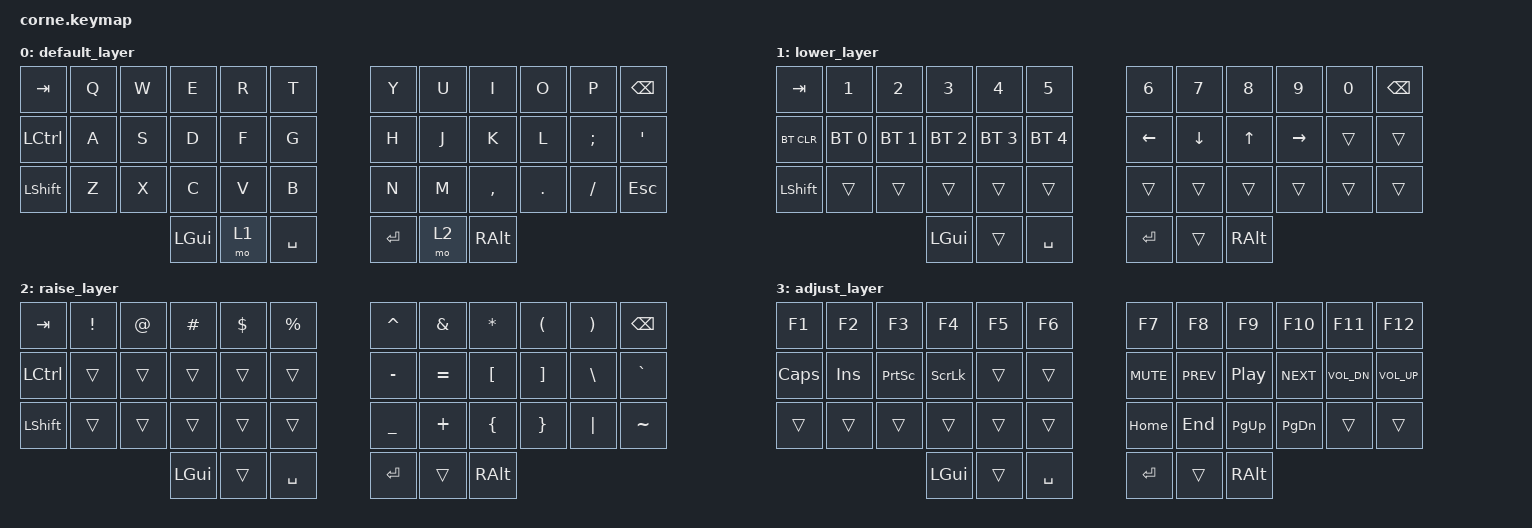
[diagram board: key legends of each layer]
/*
 * Copyright (c) 2020 The ZMK Contributors
 *
 * SPDX-License-Identifier: MIT
 */

#include <behaviors.dtsi>
#include <dt-bindings/zmk/keys.h>
#include <dt-bindings/zmk/bt.h>

/ {
    combos {
        compatible = "zmk,combos";
        combo_studio_unlock {
            timeout-ms = <50>;
            key-positions = <0 1>;
            bindings = <&studio_unlock>;
        };
    };
};

/ {
        keymap {
                compatible = "zmk,keymap";

                default_layer {
// -----------------------------------------------------------------------------------------
// |  TAB |  Q  |  W  |  E  |  R  |  T  |   |  Y  |  U   |  I  |  O  |  P  | BSPC |
// | CTRL |  A  |  S  |  D  |  F  |  G  |   |  H  |  J   |  K  |  L  |  ;  |  '   |
// | SHFT |  Z  |  X  |  C  |  V  |  B  |   |  N  |  M   |  ,  |  .  |  /  | ESC  |
//                    | GUI | LWR | SPC |   | ENT | RSE  | ALT |
                        bindings = <
   &kp TAB   &kp Q &kp W &kp E &kp R &kp T   &kp Y &kp U  &kp I     &kp O   &kp P    &kp BSPC
   &kp LCTRL &kp A &kp S &kp D &kp F &kp G   &kp H &kp J  &kp K     &kp L   &kp SEMI &kp SQT
   &kp LSHFT &kp Z &kp X &kp C &kp V &kp B   &kp N &kp M  &kp COMMA &kp DOT &kp FSLH &kp ESC
                  &kp LGUI &mo 1 &kp SPACE   &kp RET &mo 2 &kp RALT
                        >;
                };
                lower_layer {
// -----------------------------------------------------------------------------------------
// |  TAB |  1  |  2  |  3  |  4  |  5  |   |  6  |  7  |  8  |  9  |  0  | BSPC |
// | BTCLR| BT1 | BT2 | BT3 | BT4 | BT5 |   | LFT | DWN |  UP | RGT |     |      |
// | SHFT |     |     |     |     |     |   |     |     |     |     |     |      |
//                    | GUI |     | SPC |   | ENT |     | ALT |
                        bindings = <
   &kp TAB    &kp N1       &kp N2       &kp N3       &kp N4       &kp N5         &kp N6   &kp N7   &kp N8 &kp N9    &kp N0 &kp BSPC
   &bt BT_CLR &bt BT_SEL 0 &bt BT_SEL 1 &bt BT_SEL 2 &bt BT_SEL 3 &bt BT_SEL 4   &kp LEFT &kp DOWN &kp UP &kp RIGHT &trans &trans
   &kp LSHFT  &trans       &trans       &trans       &trans       &trans         &trans   &trans   &trans &trans    &trans &trans
                                    &kp LGUI     &trans       &kp SPACE      &kp RET  &trans   &kp RALT
                        >;
                };

                raise_layer {
// -----------------------------------------------------------------------------------------
// |  TAB |  !  |  @  |  #  |  $  |  %  |   |  ^  |  &  |  *  |  (  |  )  | BSPC |
// | CTRL |     |     |     |     |     |   |  -  |  =  |  [  |  ]  |  \  |  `   |
// | SHFT |     |     |     |     |     |   |  _  |  +  |  {  |  }  | "|" |  ~   |
//                    | GUI |     | SPC |   | ENT |     | ALT |
                        bindings = <
   &kp  TAB  &kp EXCL &kp AT &kp HASH &kp DLLR &kp PRCNT   &kp CARET &kp AMPS  &kp ASTRK &kp LPAR &kp RPAR &kp BSPC
   &kp LCTRL &trans   &trans &trans   &trans   &trans      &kp MINUS &kp EQUAL &kp LBKT  &kp RBKT &kp BSLH &kp GRAVE
   &kp LSHFT &trans   &trans &trans   &trans   &trans      &kp UNDER &kp PLUS  &kp LBRC  &kp RBRC &kp PIPE &kp TILDE
                             &kp LGUI &trans   &kp SPACE   &kp RET   &trans    &kp RALT
                        >;
                };

                adjust_layer {
// -----------------------------------------------------------------------------------------
// |  F1  |  F2 |  F3 |  F4 |  F5 |  F6 |   |  F7 |  F8 |  F9 | F10 | F11 | F12  |
// | CAPS | INS | PRN | SCR |     |     |   | MUT | PRV | PLY | NXT | VOL- | VOL+ |
// |      |     |     |     |     |     |   | HOME| END | PGUP| PGDN|     |      |
//                    | GUI |     | SPC |   | ENT |     | ALT |
                        bindings = <
   &kp F1    &kp F2     &kp F3      &kp F4       &kp F5  &kp F6      &kp F7    &kp F8    &kp F9     &kp F10   &kp F11   &kp F12
   &kp CAPS  &kp INS    &kp PSCRN   &kp SLCK     &trans  &trans      &kp K_MUTE &kp C_PREV &kp C_PP   &kp C_NEXT &kp C_VOL_DN &kp C_VOL_UP
   &trans    &trans     &trans      &trans       &trans  &trans      &kp HOME  &kp END   &kp PG_UP  &kp PG_DN &trans    &trans
                                    &kp LGUI     &trans  &kp SPACE   &kp RET   &trans    &kp RALT
                        >;
                };
        };
};
